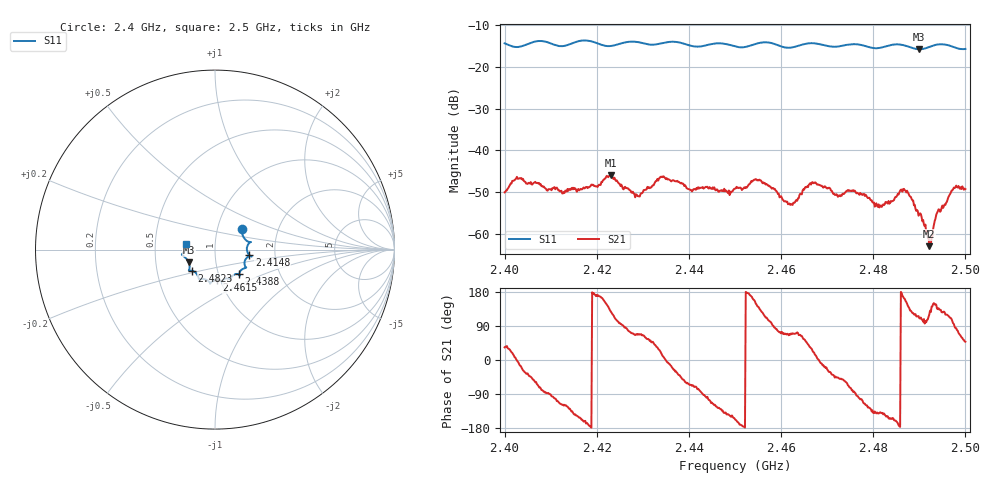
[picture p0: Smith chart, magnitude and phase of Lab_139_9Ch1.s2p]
# Hz S RI R 50
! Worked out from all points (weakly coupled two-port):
!   601 points, 2.4 GHz to 2.5 GHz, reference 50 ohm
!   highest |S21| = -45.96 dB at 2.423 GHz (marker M1); lowest = -62.9 dB at 2.4922 GHz (marker M2)
!   lowest |S11| = -15.8 dB at 2.49 GHz (marker M3), VSWR 1.39, Z = 36.8 - j5.29 ohm
!   |S11| at or under -10 dB: start of sweep to end of sweep
!   S12 and S22 are empty: the file has one direction only
!   S11 on the Smith chart (normalised r, x): 2.4 GHz: 1.31, +0.32; 2.4148 GHz: 1.47, -0.09; 2.4388 GHz: 1.25, -0.36; 2.4615 GHz: 0.97, -0.34; 2.4823 GHz: 0.75, -0.18; 2.5 GHz: 0.72, +0.04
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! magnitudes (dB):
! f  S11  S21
! 2.4 GHz  -14.3  -50.0
! 2.4032 GHz  -15.2  -46.7
! 2.4097 GHz  -14.2  -49.3
! 2.4148 GHz  -14.3  -49.3
! 2.4167 GHz  -13.7  -49.3
! 2.423 GHz  -15.0  -46.0
! 2.4288 GHz  -14.0  -50.9
! 2.4333 GHz  -14.5  -47.2
! 2.4388 GHz  -14.4  -48.1
! 2.45 GHz  -15.1  -49.1
! 2.455 GHz  -14.3  -47.0
! 2.4615 GHz  -15.4  -52.9
! 2.4667 GHz  -14.3  -47.7
! 2.4823 GHz  -15.2  -53.1
! 2.4833 GHz  -14.9  -52.1
! 2.487 GHz  -14.9  -49.7
! 2.49 GHz  -15.8  -55.4
! 2.4922 GHz  -15.2  -62.9
! 2.4927 GHz  -15.0  -60.9
! 2.4938 GHz  -14.6  -55.0
! 2.497 GHz  -15.0  -49.6
! 2.5 GHz  -15.7  -49.3
